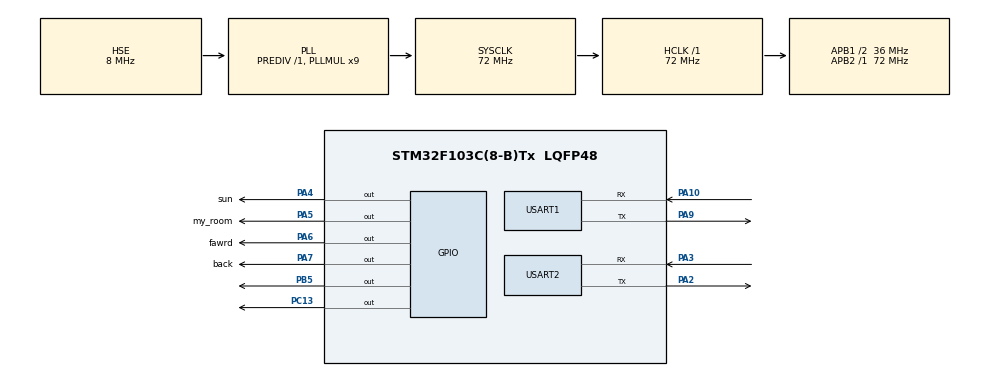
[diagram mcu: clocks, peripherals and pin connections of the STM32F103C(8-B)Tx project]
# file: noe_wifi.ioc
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Mcu.Family=STM32F1
Mcu.Name=STM32F103C(8-B)Tx
Mcu.Package=LQFP48
NVIC.PriorityGroup=NVIC_PRIORITYGROUP_4
NVIC.TIM2_IRQn=true\:0\:0\:false\:false\:true\:true\:true\:true
NVIC.TIM3_IRQn=true\:0\:0\:false\:false\:true\:true\:true\:true
NVIC.TIM4_IRQn=true\:0\:0\:false\:false\:true\:true\:true\:true
NVIC.USART1_IRQn=true\:0\:0\:false\:false\:true\:true\:true\:true
NVIC.USART2_IRQn=true\:0\:0\:false\:false\:true\:true\:true\:true
PA10.Mode=Asynchronous
PA10.Signal=USART1_RX
PA13.Mode=Serial_Wire
PA13.Signal=SYS_JTMS-SWDIO
PA14.Mode=Serial_Wire
PA14.Signal=SYS_JTCK-SWCLK
PA2.Mode=Asynchronous
PA2.Signal=USART2_TX
PA3.Mode=Asynchronous
PA3.Signal=USART2_RX
PA4.GPIO_Label=sun
PA4.PinState=GPIO_PIN_SET
PA4.Signal=GPIO_Output
PA5.GPIO_Label=my_room
PA5.PinState=GPIO_PIN_SET
PA5.Signal=GPIO_Output
PA6.GPIO_Label=fawrd
PA6.PinState=GPIO_PIN_SET
PA6.Signal=GPIO_Output
PA7.GPIO_Label=back
PA7.Signal=GPIO_Output
PA9.Mode=Asynchronous
PA9.Signal=USART1_TX
PB5.PinState=GPIO_PIN_SET
PB5.Signal=GPIO_Output
PC13-TAMPER-RTC.GPIO_ModeDefaultOutputPP=GPIO_MODE_OUTPUT_OD
PC13-TAMPER-RTC.GPIO_PuPd=GPIO_NOPULL
PC13-TAMPER-RTC.GPIO_Speed=GPIO_SPEED_FREQ_HIGH
PC13-TAMPER-RTC.PinState=GPIO_PIN_RESET
PC13-TAMPER-RTC.Signal=GPIO_Output
PC14-OSC32_IN.Mode=LSE-External-Oscillator
PC14-OSC32_IN.Signal=RCC_OSC32_IN
PC15-OSC32_OUT.Mode=LSE-External-Oscillator
PC15-OSC32_OUT.Signal=RCC_OSC32_OUT
PD0-OSC_IN.Mode=HSE-External-Oscillator
PD0-OSC_IN.Signal=RCC_OSC_IN
PD1-OSC_OUT.Mode=HSE-External-Oscillator
PD1-OSC_OUT.Signal=RCC_OSC_OUT
ProjectManager.HeapSize=0x200
ProjectManager.StackSize=0x400
ProjectManager.TargetToolchain=MDK-ARM V5.32
RCC.ADCPresc=RCC_ADCPCLK2_DIV6
RCC.AHBFreq_Value=72000000
RCC.APB1CLKDivider=RCC_HCLK_DIV2
RCC.APB1Freq_Value=36000000
RCC.APB1TimFreq_Value=72000000
RCC.APB2Freq_Value=72000000
RCC.APB2TimFreq_Value=72000000
RCC.HCLKFreq_Value=72000000
RCC.PLLMUL=RCC_PLL_MUL9
RCC.PLLSourceVirtual=RCC_PLLSOURCE_HSE
RCC.SYSCLKFreq_VALUE=72000000
RCC.SYSCLKSource=RCC_SYSCLKSOURCE_PLLCLK
RCC.USBFreq_Value=72000000
TIM2.Prescaler=71
TIM3.Period=4499
TIM3.Prescaler=8
TIM4.AutoReloadPreload=TIM_AUTORELOAD_PRELOAD_ENABLE
TIM4.Period=50000-1
TIM4.Prescaler=7199
USART1.VirtualMode=VM_ASYNC
USART2.VirtualMode=VM_ASYNC
VP_TIM2_VS_ClockSourceINT.Mode=Internal
VP_TIM3_VS_ClockSourceINT.Mode=Internal
VP_TIM4_VS_ClockSourceINT.Mode=Internal
board=custom

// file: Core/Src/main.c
/* USER CODE BEGIN Header */
/**
  ******************************************************************************
  * @file           : main.c
  * @brief          : Main program body
  ******************************************************************************
  * @attention
  *
  * Copyright (c) 2026 STMicroelectronics.
  * All rights reserved.
  *
  * This software is licensed under terms that can be found in the LICENSE file
  * in the root directory of this software component.
  * If no LICENSE file comes with this software, it is provided AS-IS.
  *
  ******************************************************************************
  */
/* USER CODE END Header */

#include "main.h"       /* HAL库头文件 */
#include "tim.h"        /* 定时器驱动头文件 */
#include "usart.h"      /* 串口驱动头文件 */
#include "gpio.h"       /* GPIO驱动头文件 */

/* USER CODE BEGIN Includes */
#include <string.h>     /* 字符串操作函数库 */
#include <stdio.h>      /* 标准输入输出函数库 */
#include "esp8266.h"    /* ESP8266 WiFi模块驱动头文件 */
/* USER CODE END Includes */

/* USER CODE BEGIN PD */
// 定义定时周期（示例：1000ms = 1秒发送一次，可根据需求修改）
#define MQTT_SEND_PERIOD_MS  5000
// 记录上一次发送MQTT数据的时间戳（静态变量，仅在当前作用域有效，值会持续保存）
static uint32_t g_last_mqtt_send_tick = 0;
volatile uint8_t g_uart1_busy = 0;
/* USER CODE END PD */

void SystemClock_Config(void);    /* 系统时钟配置函数声明 */

/* USER CODE BEGIN 0 */
/* 定时器周期中断回调函数（当前为空实现，可根据需求扩展） */
void HAL_TIM_PeriodElapsedCallback(TIM_HandleTypeDef *htim)
{

}
/* USER CODE END 0 */

int main(void)
{
  /* USER CODE BEGIN 1 */
  /* 用户初始化代码区域（通常在HAL初始化前执行） */

  /* USER CODE END 1 */

  /* MCU Configuration--------------------------------------------------------*/
  /* Reset of all peripherals, Initializes the Flash interface and the Systick. */
  HAL_Init();   /* 初始化HAL库 */

  /* Configure the system clock */
  SystemClock_Config();   /* 配置系统时钟 */

  /* Initialize all configured peripherals */
  MX_GPIO_Init();          /* 初始化GPIO */
  MX_USART1_UART_Init();   /* 初始化USART1（连接ESP8266） */
  MX_USART2_UART_Init();   /* 初始化USART2（调试串口） */
  MX_TIM3_Init();          /* 初始化定时器TIM3 */
  MX_TIM2_Init();          /* 初始化定时器TIM2 */
  MX_TIM4_Init();          /* 初始化定时器TIM4 */

  /* USER CODE BEGIN 2 */
  uint8_t status = 2;  /* WiFi连接状态：2表示已连接并获取IP */
  /* ESP8266模块初始化 */
  ESP8266_Init();
  /* 配置ESP8266连接MQTT服务器（安可信固件示例） */
  ESP8266_Aithinker_MQTT_Example();
  /* 订阅OneNET平台属性设置主题 */
  ESP8266_MQTT_Subscribe_OneNET();
  /* 订阅OneNET平台属性上报回复主题 */
  ESP8266_MQTT_Subscribe_OneNET_Repaly();
  /* 绑定OneNET上报主题与命令 */
  ESP8266_Bind_OneNET_Report_Topic_With_Cmd();
  /* 记录初始时间戳 */
  g_last_mqtt_send_tick = HAL_GetTick();
  /* USER CODE END 2 */

  /* Infinite loop */
  /* USER CODE BEGIN WHILE */
  while (1)
  {
    /* 根据OneNET平台下发的属性数据控制GPIO引脚状态 */
    /* 控制my_room引脚（根据light_b属性） */
    HAL_GPIO_WritePin(my_room_GPIO_Port, my_room_Pin,
                      g_OneNET_Property_Data.light_b ? GPIO_PIN_RESET : GPIO_PIN_SET);
    /* 控制back引脚（根据light_back属性） */
    HAL_GPIO_WritePin(back_GPIO_Port, back_Pin,
                      g_OneNET_Property_Data.light_back ? GPIO_PIN_SET : GPIO_PIN_RESET);
    /* 控制fawrd引脚（根据light_f属性） */
    HAL_GPIO_WritePin(fawrd_GPIO_Port, fawrd_Pin,
                      g_OneNET_Property_Data.light_f ? GPIO_PIN_RESET : GPIO_PIN_SET);
    /* 控制sun引脚（根据sun属性） */
    HAL_GPIO_WritePin(sun_GPIO_Port, sun_Pin,
                      g_OneNET_Property_Data.sun ? GPIO_PIN_RESET : GPIO_PIN_SET);

    /* 执行主循环任务（如数据解析、状态检查等） */
    main_loop_task();

    uint32_t current_tick = HAL_GetTick(); // 获取当前系统节拍时间戳

    /* 处理MQTT数据上报 */
    /* 条件1：串口1不忙（未在发送数据） */
    /* 条件2：OneNET属性数据已更新（需要上报） */
    if (g_uart1_busy == 0 && g_OneNET_Property_Data.is_updated)
    {
      g_uart1_busy = 1; // 临时占标：防止上报过程中解析突然触发
      // 执行上报，上报完成后立即释放标志
      ESP8266_AT_MQTT_Publish_Raw(g_OneNET_Property_Data.light_b,
                                  g_OneNET_Property_Data.light_back,
                                  g_OneNET_Property_Data.light_f,
                                  g_OneNET_Property_Data.sun);
      g_uart1_busy = 0; // 释放标志：上报完成，恢复解析优先
      g_OneNET_Property_Data.is_updated = 0;  /* 清除更新标志 */
      UART2_Debug_Print("MQTT Publish: Success (Parse Idle)");
    }

    /* 解析忙则跳过：不更新时间戳，下一个周期继续检测，直到解析空闲 */
    /* 条件1：串口1不忙 */
    /* 条件2：ESP8266数据帧未完成标志未置位（表示没有正在解析的数据） */
    /* 条件3：OneNET属性数据未更新（避免与上报冲突） */
    if (g_uart1_busy == 0 && strEsp8266_Fram_Record.InfBit.FramFinishFlag != 1 && g_OneNET_Property_Data.is_updated != 1)
    {
      /* 检查是否达到60秒（60000ms）的心跳/状态检查间隔 */
      if (current_tick - g_last_mqtt_send_tick > 60000)
      {
        /* 获取ESP8266连接状态 */
        status = ESP8266_Get_LinkStatus();
        /* 如果连接状态异常（不是已连接状态） */
        if (status != 2)
        {
          /* 重新初始化ESP8266并连接MQTT服务器 */
          ESP8266_Init();
          ESP8266_Aithinker_MQTT_Example();
          ESP8266_MQTT_Subscribe_OneNET();
          ESP8266_MQTT_Subscribe_OneNET_Repaly();
          ESP8266_Bind_OneNET_Report_Topic_With_Cmd();
        }
        g_last_mqtt_send_tick = current_tick; // 仅上报成功才更新时间戳
      }
      // 不更新g_last_mqtt_send_tick，保证上报周期连续检测
    }
    else
    {
      /* 如果串口忙或正在解析数据，短暂延时避免CPU占用过高 */
      HAL_Delay(10);
    }
    /* USER CODE END WHILE */

  }
}

void SystemClock_Config(void)
{
  RCC_OscInitTypeDef RCC_OscInitStruct = {0};
  RCC_ClkInitTypeDef RCC_ClkInitStruct = {0};

  /** Initializes the RCC Oscillators according to the specified parameters
  * in the RCC_OscInitTypeDef structure.
  */
  RCC_OscInitStruct.OscillatorType = RCC_OSCILLATORTYPE_HSE;  /* 使用外部高速时钟(HSE) */
  RCC_OscInitStruct.HSEState = RCC_HSE_ON;                    /* 使能HSE */
  RCC_OscInitStruct.HSEPredivValue = RCC_HSE_PREDIV_DIV1;     /* HSE预分频系数为1 */
  RCC_OscInitStruct.HSIState = RCC_HSI_ON;                    /* 使能内部高速时钟(HSI) */
  RCC_OscInitStruct.PLL.PLLState = RCC_PLL_ON;                /* 使能PLL */
  RCC_OscInitStruct.PLL.PLLSource = RCC_PLLSOURCE_HSE;        /* PLL时钟源选择HSE */
  RCC_OscInitStruct.PLL.PLLMUL = RCC_PLL_MUL9;                /* PLL倍频系数为9 */
  if (HAL_RCC_OscConfig(&RCC_OscInitStruct) != HAL_OK)
  {
    Error_Handler();  /* 时钟配置失败，执行错误处理 */
  }

  /** Initializes the CPU, AHB and APB buses clocks
  */
  RCC_ClkInitStruct.ClockType = RCC_CLOCKTYPE_HCLK | RCC_CLOCKTYPE_SYSCLK |
                                RCC_CLOCKTYPE_PCLK1 | RCC_CLOCKTYPE_PCLK2;  /* 配置所有时钟域 */
  RCC_ClkInitStruct.SYSCLKSource = RCC_SYSCLKSOURCE_PLLCLK;  /* 系统时钟源选择PLL输出 */
  RCC_ClkInitStruct.AHBCLKDivider = RCC_SYSCLK_DIV1;         /* AHB总线时钟不分频 */
  RCC_ClkInitStruct.APB1CLKDivider = RCC_HCLK_DIV2;          /* APB1总线时钟2分频 */
  RCC_ClkInitStruct.APB2CLKDivider = RCC_HCLK_DIV1;          /* APB2总线时钟不分频 */

  if (HAL_RCC_ClockConfig(&RCC_ClkInitStruct, FLASH_LATENCY_2) != HAL_OK)
  {
    Error_Handler();  /* 时钟配置失败，执行错误处理 */
  }
}

/* USER CODE BEGIN 4 */
/* 定时器输入捕获中断回调函数（当前为空实现，可根据需求扩展） */
void HAL_TIM_IC_CaptureCallback(TIM_HandleTypeDef *htim)
{

}
/* USER CODE END 4 */

void Error_Handler(void)
{
  /* USER CODE BEGIN Error_Handler_Debug */
  /* User can add his own implementation to report the HAL error return state */
  __disable_irq();   /* 禁用所有中断 */
  while (1)
  {
    /* 错误处理：可在此处添加错误指示灯闪烁、日志记录等 */
  }
  /* USER CODE END Error_Handler_Debug */
}
